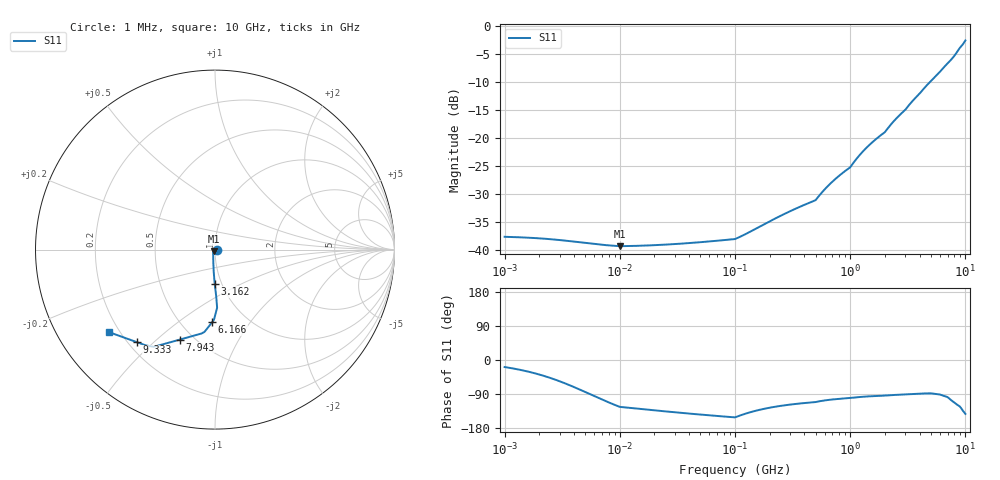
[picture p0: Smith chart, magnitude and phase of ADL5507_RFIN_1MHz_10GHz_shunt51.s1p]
! ADL5507 RFIN input reflection, variant 'shunt51', 1 MHz - 10 GHz (see adl5507_input_model.py)
! Data: ADL5507 Rev. 0 datasheet, Table 4, 10 MHz - 15 GHz; below 10 MHz extrapolated (series 25 pF coupling capacitor).
! 1-port: RFIN to ground (COMM). Reference impedance 50 ohm.
# HZ S RI R 50
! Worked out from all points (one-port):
!   401 points, 1 MHz to 10 GHz, reference 50 ohm
!   lowest |S11| = -39.3 dB at 10 MHz (marker M1), VSWR 1.02, Z = 49.4 - j0.889 ohm
!   |S11| at or under -10 dB: start of sweep to 4.895 GHz
!   S11 on the Smith chart (normalised r, x): 1 MHz: 1.03, -0.01; 3.162 GHz: 0.93, -0.37; 6.166 GHz: 0.70, -0.68; 7.943 GHz: 0.42, -0.60; 9.333 GHz: 0.23, -0.44; 10 GHz: 0.16, -0.33
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1000000  0.0124 -0.00418
1819701  0.0105 -0.00731
3162278  0.00634 -0.0104
1e7  -0.006 -0.009
3.162278e7  -0.0085 -0.0075
1.023293e8  -0.011 -0.00629
3.162278e8  -0.0103 -0.0203
4.897788e8  -0.01 -0.0257
6.91831e8  -0.01 -0.0391
1e9  -0.01 -0.054
1.174898e9  -0.00953 -0.0677
1.348963e9  -0.00914 -0.0795
1.584893e9  -0.00867 -0.0932
1.995262e9  -0.00801 -0.1128
2.398833e9  -0.00576 -0.1426
3.162278e9  -0.00135 -0.192
3.981072e9  0.00585 -0.2488
4.897788e9  0.0114 -0.3162
5.754399e9  -0.00187 -0.3762
6.16595e9  -0.0161 -0.4047
6.76083e9  -0.0501 -0.4478
7.079458e9  -0.0749 -0.4674
7.943282e9  -0.1965 -0.5019
8.709636e9  -0.3122 -0.5336
9.120108e9  -0.3841 -0.5342
9.332543e9  -0.4363 -0.5154
9.772372e9  -0.5408 -0.4778
1e10  -0.593 -0.459
